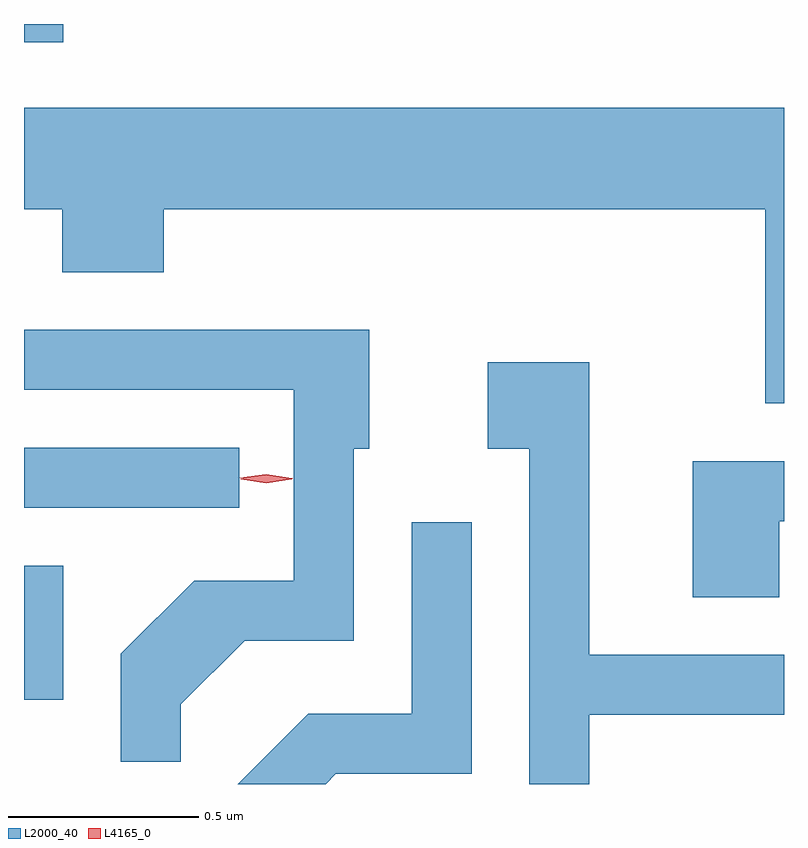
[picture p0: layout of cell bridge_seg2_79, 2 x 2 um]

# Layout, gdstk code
import gdstk
lib = gdstk.Library(unit=1e-6, precision=1e-09)
def R(c, l, rs):  # rectangles x0, y0, x1, y1
    for r in rs: c.add(gdstk.rectangle(r[:2], r[2:], *l))
def P(c, l, *ps):  # polygons
    for p in ps: c.add(gdstk.Polygon(p, *l))
L2000_40 = (2000, 40)
L4165_0 = (4165, 0)

bridge_seg2_79 = lib.new_cell('bridge_seg2_79')
R(bridge_seg2_79, L2000_40, [(1217.721,1067.006,1217.824,1067.359), (1217.721,1067.511,1218.288,1067.669), (1217.721,1068.736,1217.824,1068.784)])
P(bridge_seg2_79, L2000_40, [(1219.721,1068.564),(1217.721,1068.564),(1217.721,1068.296),(1217.821,1068.296),(1217.821,1068.131),(1218.089,1068.131),(1218.089,1068.296),(1219.671,1068.296),(1219.671,1067.786),(1219.721,1067.786)],
  [(1218.134,1066.994),(1218.302,1067.161),(1218.589,1067.161),(1218.589,1067.666),(1218.629,1067.666),(1218.629,1067.979),(1217.721,1067.979),(1217.721,1067.821),(1218.431,1067.821),(1218.431,1067.319),(1218.169,1067.319),(1217.976,1067.127),(1217.976,1066.843),(1218.134,1066.843)],
  [(1219.209,1066.966),(1219.721,1066.966),(1219.721,1067.124),(1219.209,1067.124),(1219.209,1067.894),(1218.941,1067.894),(1218.941,1067.666),(1219.051,1067.666),(1219.051,1066.784),(1219.209,1066.784)],
  [(1219.709,1067.476),(1219.721,1067.476),(1219.721,1067.634),(1219.481,1067.634),(1219.481,1067.276),(1219.709,1067.276)],
  [(1218.542,1066.811),(1218.899,1066.811),(1218.899,1067.473),(1218.741,1067.473),(1218.741,1066.969),(1218.469,1066.969),(1218.284,1066.784),(1218.515,1066.784)])
P(bridge_seg2_79, L4165_0, [(1218.359,1067.576),(1218.292,1067.586),(1218.292,1067.586),(1218.292,1067.587),(1218.359,1067.596),(1218.425,1067.587),(1218.426,1067.586),(1218.425,1067.586)],
  [(1218.358,1067.579),(1218.289,1067.59),(1218.289,1067.59),(1218.289,1067.59),(1218.358,1067.599),(1218.427,1067.588),(1218.428,1067.588),(1218.427,1067.587)])

lib.write_gds('bridge_seg2_79.gds')
